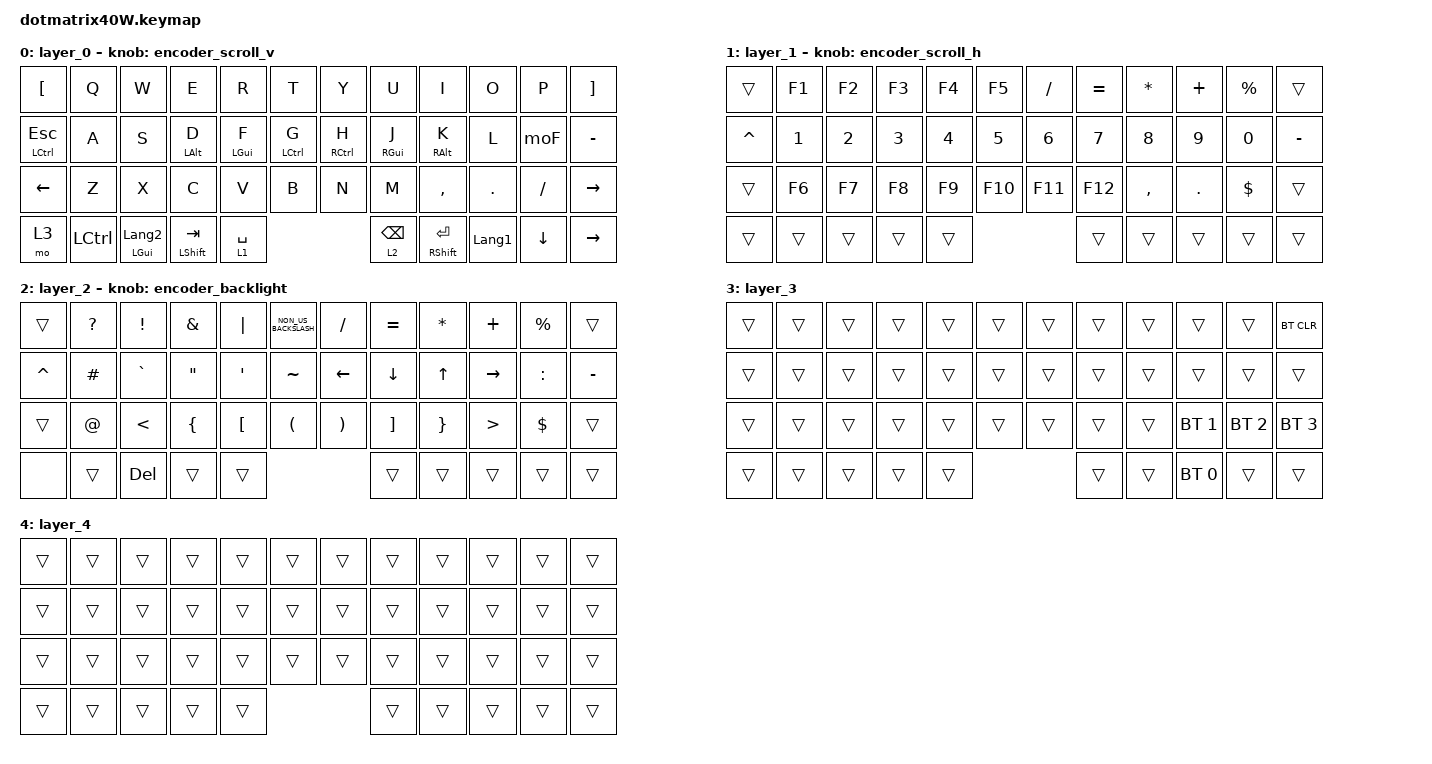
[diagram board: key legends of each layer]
/*
 * Copyright (c) 2021 Nick Winans
 *
 * SPDX-License-Identifier: MIT
 */

#include <behaviors.dtsi>
#include <dt-bindings/zmk/backlight.h>
#include <dt-bindings/zmk/bt.h>
#include <dt-bindings/zmk/keys.h>
#include <dt-bindings/zmk/pointing.h>

// JIS layout fixes for Japanese OS settings

#define JP_DQUOTE       AT                // "
#define JP_AMPERSAND    CARET             // &
#define JP_QUOTE        AMPERSAND         // '
#define JP_EQUAL        UNDER             // =
#define JP_CARET        EQUAL             // ^
#define JP_YEN          0x89              // ¥
#define JP_PLUS         COLON             // +
#define JP_TILDE        PLUS              // ~
#define JP_PIPE         LS(0x89)          // |
#define JP_AT           LEFT_BRACKET      // @
#define JP_COLON        SINGLE_QUOTE      // :
#define JP_ASTERISK     DOUBLE_QUOTES     // *
#define JP_BACKQUOTE    LEFT_BRACE        // `
#define JP_UNDERSCORE   LS(0x87)          // _
#define JP_LBRACKET     RIGHT_BRACKET     // [
#define JP_RBRACKET     BACKSLASH         // ]
#define JP_LPAREN       ASTERISK          // (
#define JP_RPAREN       LEFT_PARENTHESIS  // )
#define JP_LBRACE       RIGHT_BRACE       // {
#define JP_RBRACE       PIPE              // }
#define JP_KANA         LANGUAGE_1        // Kana
#define JP_EISU         LANGUAGE_2        // Eisu
#define JP_HANZEN       GRAVE             // Han/Zen
#define JP_BSLH         INT1              // Backslash

// Custom scroll values to ensure a single encoder click produces enough velocity

#define SCRL_UP_FAST   MOVE_Y(35)
#define SCRL_DOWN_FAST MOVE_Y(-35)
#define SCRL_LEFT_FAST MOVE_X(-35)
#define SCRL_RIGHT_FAST MOVE_X(35)

/ {
    behaviors {
        encoder_scroll_v: encoder_scroll_v {
            compatible = "zmk,behavior-sensor-rotate";
            #sensor-binding-cells = <0>;
            bindings = <&msc SCRL_DOWN_FAST>, <&msc SCRL_UP_FAST>;

            tap-ms = <50>;
        };

        encoder_scroll_h: encoder_scroll_h {
            compatible = "zmk,behavior-sensor-rotate";
            #sensor-binding-cells = <0>;
            bindings = <&msc SCRL_RIGHT_FAST>, <&msc SCRL_LEFT_FAST>;

            tap-ms = <50>;
        };

        encoder_backlight: encoder_backlight {
            compatible = "zmk,behavior-sensor-rotate";
            #sensor-binding-cells = <0>;
            bindings = <&bl BL_INC>, <&bl BL_DEC>;
        };

        encoder_arrow_v: encoder_arrow_v {
            compatible = "zmk,behavior-sensor-rotate";
            #sensor-binding-cells = <0>;
            bindings = <&kp DOWN>, <&kp UP>;
        };

        encoder_arrow_h: encoder_arrow_h {
            compatible = "zmk,behavior-sensor-rotate";
            #sensor-binding-cells = <0>;
            bindings = <&kp RIGHT>, <&kp LEFT>;
        };

        encoder_volume: encoder_volume {
            compatible = "zmk,behavior-sensor-rotate";
            #sensor-binding-cells = <0>;
            bindings = <&kp C_VOL_UP>, <&kp C_VOL_DN>;
        };

        encoder_undo_win: encoder_undo_win {
            compatible = "zmk,behavior-sensor-rotate";
            #sensor-binding-cells = <0>;
            bindings = <&kp LC(Y)>, <&kp LC(Z)>;
        };

        encoder_undo_mac: encoder_undo_mac {
            compatible = "zmk,behavior-sensor-rotate";
            #sensor-binding-cells = <0>;
            bindings = <&kp LG(LS(Z))>, <&kp LG(Z)>;
        };

        mo2: mo2 {
            compatible = "zmk,behavior-mod-morph";
            #binding-cells = <0>;
            bindings = <&kp N2>, <&kp JP_DQUOTE>;

            mods = <(MOD_LSFT|MOD_RSFT)>;
        };

        mo6: mo6 {
            compatible = "zmk,behavior-mod-morph";
            #binding-cells = <0>;
            bindings = <&kp N6>, <&kp JP_AMPERSAND>;

            mods = <(MOD_LSFT|MOD_RSFT)>;
        };

        mo7: mo7 {
            compatible = "zmk,behavior-mod-morph";
            #binding-cells = <0>;
            bindings = <&kp N7>, <&kp JP_QUOTE>;

            mods = <(MOD_LSFT|MOD_RSFT)>;
        };

        mo8: mo8 {
            compatible = "zmk,behavior-mod-morph";
            #binding-cells = <0>;
            bindings = <&kp N8>, <&kp JP_LPAREN>;

            mods = <(MOD_LSFT|MOD_RSFT)>;
        };

        mo9: mo9 {
            compatible = "zmk,behavior-mod-morph";
            #binding-cells = <0>;
            bindings = <&kp N9>, <&kp JP_RPAREN>;

            mods = <(MOD_LSFT|MOD_RSFT)>;
        };

        mo0: mo0 {
            compatible = "zmk,behavior-mod-morph";
            #binding-cells = <0>;
            bindings = <&kp N0>, <&none>;

            mods = <(MOD_LSFT|MOD_RSFT)>;
        };

        moA: moA {
            compatible = "zmk,behavior-mod-morph";
            #binding-cells = <0>;
            bindings = <&kp MINUS>, <&kp JP_EQUAL>;

            mods = <(MOD_LSFT|MOD_RSFT)>;
        };

        moB: moB {
            compatible = "zmk,behavior-mod-morph";
            #binding-cells = <0>;
            bindings = <&kp JP_CARET>, <&kp JP_TILDE>;

            mods = <(MOD_LSFT|MOD_RSFT)>;
        };

        moC: moC {
            compatible = "zmk,behavior-mod-morph";
            #binding-cells = <0>;
            bindings = <&kp INT3>, <&kp JP_PIPE>;

            mods = <(MOD_LSFT|MOD_RSFT)>;
        };

        moD: moD {
            compatible = "zmk,behavior-mod-morph";
            #binding-cells = <0>;
            bindings = <&kp JP_AT>, <&kp JP_BACKQUOTE>;

            mods = <(MOD_LSFT|MOD_RSFT)>;
        };

        moE: moE {
            compatible = "zmk,behavior-mod-morph";
            #binding-cells = <0>;
            bindings = <&kp JP_LBRACKET>, <&kp JP_LBRACE>;

            mods = <(MOD_LSFT|MOD_RSFT)>;
        };

        moF: moF {
            compatible = "zmk,behavior-mod-morph";
            #binding-cells = <0>;
            bindings = <&kp SEMI>, <&kp KP_PLUS>;

            mods = <(MOD_LSFT|MOD_RSFT)>;
        };

        moG: moG {
            compatible = "zmk,behavior-mod-morph";
            #binding-cells = <0>;
            bindings = <&kp JP_COLON>, <&kp JP_ASTERISK>;

            mods = <(MOD_LSFT|MOD_RSFT)>;
        };

        moH: moH {
            compatible = "zmk,behavior-mod-morph";
            #binding-cells = <0>;
            bindings = <&kp JP_RBRACKET>, <&kp TILDE2>;

            mods = <(MOD_LSFT|MOD_RSFT)>;
        };

        moI: moI {
            compatible = "zmk,behavior-mod-morph";
            #binding-cells = <0>;
            bindings = <&kp JP_BSLH>, <&kp JP_UNDERSCORE>;

            mods = <(MOD_LSFT|MOD_RSFT)>;
        };

        mac_mt: mac_mt {
            compatible = "zmk,behavior-hold-tap";
            label = "MAC_MT";
            bindings = <&kp>, <&kp>;

            #binding-cells = <2>;
            flavor = "tap-preferred";
            tapping-term-ms = <200>;
        };
    };

    keymap {
        compatible = "zmk,keymap";

        layer_0 {
            // -------------------------------------------------------------------------------------------------
            // | - / = |   Q   |   W   |   E   |   R   |   T   |   Y   |   U   |   I   |   O   |   P   | BSPC  |
            // |  TAB  |   A   |   S   |   D   |   F   |   G   |   H   |   J   |   K   |   L   | ; / + | : / * |
            // | SHIFT |   Z   |   X   |   C   |   V   |   B   |   N   |   M   | , / < | . / > |  UP   | / / ? |
            // |  L1   | CTRL  |  ALT  | EISU  |     SPACE     |     ENTER     | KANA  | LEFT  | DOWN  | RIGHT |
            // -------------------------------------------------------------------------------------------------

            bindings = <
&kp LEFT_BRACKET      &kp Q      &kp W                        &kp E               &kp R               &kp T            &kp Y            &kp U            &kp I                       &kp O           &kp P      &kp RIGHT_BRACKET
&mac_mt LCTRL ESCAPE  &kp A      &kp S                        &mac_mt LEFT_ALT D  &mac_mt LEFT_GUI F  &mac_mt LCTRL G  &mac_mt RCTRL H  &mac_mt RGUI J   &mac_mt RIGHT_ALT K         &kp L           &moF       &kp MINUS
&kp LEFT              &kp Z      &kp X                        &kp C               &kp V               &kp B            &kp N            &kp M            &kp COMMA                   &kp DOT         &kp SLASH  &kp RIGHT
&mo 3                 &kp LCTRL  &mac_mt LEFT_GUI LANGUAGE_2  &mac_mt LSHIFT TAB  &lt 1 SPACE                                           &lt 2 BACKSPACE  &mac_mt RIGHT_SHIFT RETURN  &kp LANGUAGE_1  &kp DOWN   &kp RIGHT
            >;

            sensor-bindings = <&encoder_scroll_v>;
        };

        layer_1 {
            // -------------------------------------------------------------------------------------------------
            // |  ESC  |  F10  |  F11  |  F12  | ; / + |       |       | : / * |   +   | 7 / ' | 8 / ( | 9 / ) |
            // |       |  F7   |  F8   |  F9   | [ / { |       |       | ] / } |   -   | 4 / $ | 5 / % | 6 / & |
            // |       |  F4   |  F5   |  F6   | @ / ` | ^ / ~ | \ / _ | \ / | |   *   | 1 / ! | 2 / " | 3 / # |
            // |       |  F1   |  F2   |  F3   |      L2       |      DEL      |   /   |   0   |   .   |   =   |
            // -------------------------------------------------------------------------------------------------

            bindings = <
&trans     &kp F1        &kp F2        &kp F3        &kp F4        &kp F5        &kp SLASH     &kp EQUAL     &kp ASTERISK  &kp PLUS      &kp PERCENT   &trans
&kp CARET  &kp NUMBER_1  &kp NUMBER_2  &kp NUMBER_3  &kp NUMBER_4  &kp NUMBER_5  &kp NUMBER_6  &kp NUMBER_7  &kp NUMBER_8  &kp NUMBER_9  &kp NUMBER_0  &kp MINUS
&trans     &kp F6        &kp F7        &kp F8        &kp F9        &kp F10       &kp F11       &kp F12       &kp COMMA     &kp PERIOD    &kp DOLLAR    &trans
&trans     &trans        &trans        &trans        &trans                                    &trans        &trans        &trans        &trans        &trans
            >;

            sensor-bindings = <&encoder_scroll_h>;
        };

        layer_2 {
            // -------------------------------------------------------------------------------------------------
            // |       |       |       |       |       |       |       |       |       |       |       | BTCLR |
            // |       |       |       |       |       |       |       |       |       |       |       |       |
            // |       |       |       |       |       |       |       |       |       | BT 1  | BT 2  | BT 3  |
            // |       |       |       |       |               |               |       | BT 0  |       |       |
            // -------------------------------------------------------------------------------------------------

            bindings = <
&trans     &kp QUESTION  &kp EXCLAMATION  &kp AMPERSAND      &kp PIPE          &kp NON_US_BACKSLASH  &kp SLASH              &kp EQUAL          &kp ASTERISK     &kp PLUS          &kp PERCENT  &trans
&kp CARET  &kp HASH      &kp GRAVE        &kp DOUBLE_QUOTES  &kp SQT           &kp TILDE             &kp LEFT               &kp DOWN           &kp UP_ARROW     &kp RIGHT         &kp COLON    &kp MINUS
&trans     &kp AT_SIGN   &kp LESS_THAN    &kp LEFT_BRACE     &kp LEFT_BRACKET  &kp LEFT_PARENTHESIS  &kp RIGHT_PARENTHESIS  &kp RIGHT_BRACKET  &kp RIGHT_BRACE  &kp GREATER_THAN  &kp DOLLAR   &trans
&none      &trans        &kp DELETE       &trans             &trans                                                         &trans             &trans           &trans            &trans       &trans
            >;

            sensor-bindings = <&encoder_backlight>;
        };

        layer_3 {
            bindings = <
&trans  &trans  &trans  &trans  &trans  &trans  &trans  &trans  &trans  &trans        &trans        &bt BT_CLR
&trans  &trans  &trans  &trans  &trans  &trans  &trans  &trans  &trans  &trans        &trans        &trans
&trans  &trans  &trans  &trans  &trans  &trans  &trans  &trans  &trans  &bt BT_SEL 1  &bt BT_SEL 2  &bt BT_SEL 3
&trans  &trans  &trans  &trans  &trans                  &trans  &trans  &bt BT_SEL 0  &trans        &trans
            >;
        };

        layer_4 {
            bindings = <
&trans  &trans  &trans  &trans  &trans  &trans  &trans  &trans  &trans  &trans  &trans  &trans
&trans  &trans  &trans  &trans  &trans  &trans  &trans  &trans  &trans  &trans  &trans  &trans
&trans  &trans  &trans  &trans  &trans  &trans  &trans  &trans  &trans  &trans  &trans  &trans
&trans  &trans  &trans  &trans  &trans                  &trans  &trans  &trans  &trans  &trans
            >;
        };
    };
};

// Override msc behavior to remove acceleration and delay for immediate encoder response

&msc {
    acceleration-exponent = <0>;
    time-to-max-speed-ms = <0>;
    delay-ms = <0>;
};

// Special thanks to the following repository for reference and inspiration:
// https://github.com/kureyakey/zmk-config-zonkey
